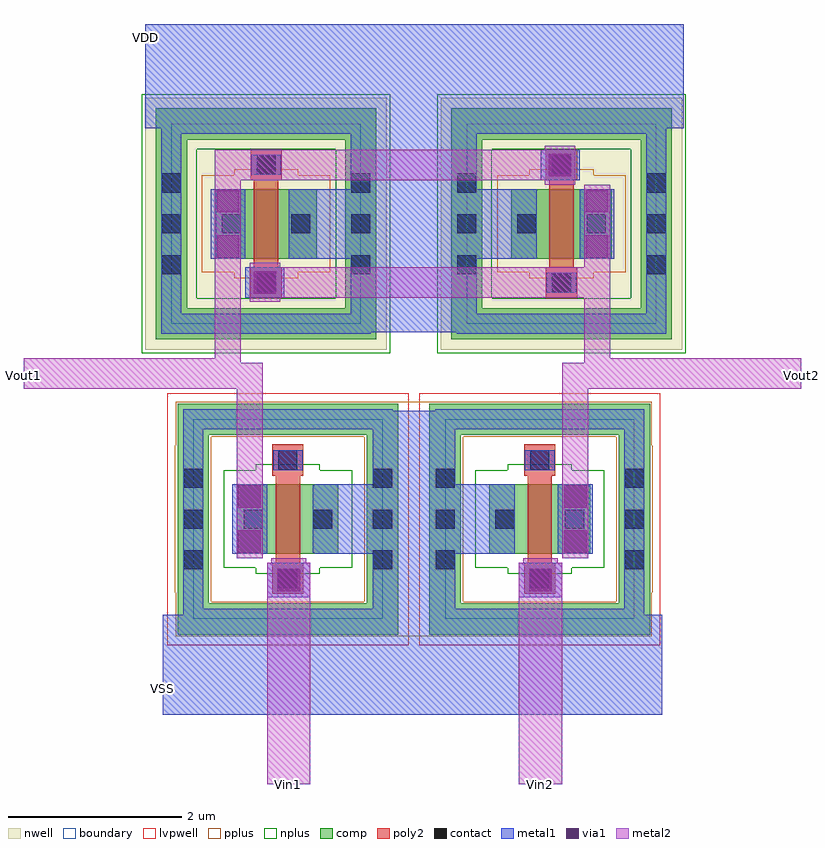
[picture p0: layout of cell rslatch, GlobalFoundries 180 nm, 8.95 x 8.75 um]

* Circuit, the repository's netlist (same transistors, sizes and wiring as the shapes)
** sch_path: /foss/designs/comparator/rslatch.sch
**.subckt rslatch VDD Vout1 Vout2 Vin1 Vin2 VSS
*.iopin VDD
*.iopin VSS
*.iopin Vin1
*.iopin Vin2
*.iopin Vout1
*.iopin Vout2
XM1 Vout1 Vin1 VSS VSS nfet_03v3 L=0.28u W=0.8u nf=1 ad='int((nf+1)/2) * W/nf * 0.18u' as='int((nf+2)/2) * W/nf * 0.18u' pd='2*int((nf+1)/2) * (W/nf + 0.18u)'
+ ps='2*int((nf+2)/2) * (W/nf + 0.18u)' nrd='0.18u / W' nrs='0.18u / W' sa=0 sb=0 sd=0 m=1
XM2 Vout2 Vin2 VSS VSS nfet_03v3 L=0.28u W=0.8u nf=1 ad='int((nf+1)/2) * W/nf * 0.18u' as='int((nf+2)/2) * W/nf * 0.18u' pd='2*int((nf+1)/2) * (W/nf + 0.18u)'
+ ps='2*int((nf+2)/2) * (W/nf + 0.18u)' nrd='0.18u / W' nrs='0.18u / W' sa=0 sb=0 sd=0 m=1
XM3 Vout1 Vout2 VDD VDD pfet_03v3 L=0.28u W=0.8u nf=1 ad='int((nf+1)/2) * W/nf * 0.18u' as='int((nf+2)/2) * W/nf * 0.18u' pd='2*int((nf+1)/2) * (W/nf + 0.18u)'
+ ps='2*int((nf+2)/2) * (W/nf + 0.18u)' nrd='0.18u / W' nrs='0.18u / W' sa=0 sb=0 sd=0 m=1
XM4 Vout2 Vout1 VDD VDD pfet_03v3 L=0.28u W=0.8u nf=1 ad='int((nf+1)/2) * W/nf * 0.18u' as='int((nf+2)/2) * W/nf * 0.18u' pd='2*int((nf+1)/2) * (W/nf + 0.18u)'
+ ps='2*int((nf+2)/2) * (W/nf + 0.18u)' nrd='0.18u / W' nrs='0.18u / W' sa=0 sb=0 sd=0 m=1
**.ends
.end

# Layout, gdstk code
import gdstk
lib = gdstk.Library(unit=1e-6, precision=1e-09)
def R(c, l, rs):  # rectangles x0, y0, x1, y1
    for r in rs: c.add(gdstk.rectangle(r[:2], r[2:], *l))
def A(c, l, x, y, w, h, nx, ny, dx, dy):  # array of equal rectangles
    R(c, l, [(x+i*dx, y+j*dy, x+i*dx+w, y+j*dy+h) for i in range(nx) for j in range(ny)])
boundary = (0, 0)
nwell = (21, 0)
comp = (22, 0)
poly2 = (30, 0)
pplus = (31, 0)
nplus = (32, 0)
contact = (33, 0)
metal1 = (34, 0)
via1 = (35, 0)
metal2 = (36, 0)
lvpwell = (204, 0)

pfet_03v3_ybhbcy = lib.new_cell('pfet_03v3_YBHBCY')
R(pfet_03v3_ybhbcy, boundary, [(-1.09,-1.15,1.09,1.15)])
R(pfet_03v3_ybhbcy, nwell, [(-1.39,-1.45,1.39,1.45)])
R(pfet_03v3_ybhbcy, comp, [(-1.27,-1.33,1.27,-0.97), (-1.27,-0.97,-0.91,0.97), (0.91,-0.97,1.27,0.97), (-0.58,-0.4,0.58,0.4), (-1.27,0.97,1.27,1.33)])
R(pfet_03v3_ybhbcy, poly2, [(-0.18,-0.86,0.18,-0.5), (-0.14,-0.5,0.14,0.5), (-0.18,0.5,0.18,0.86)])
R(pfet_03v3_ybhbcy, pplus, [(-0.37,-0.63,0.37,-0.56), (-0.74,-0.56,0.74,0.56), (-0.37,0.56,0.37,0.63)])
R(pfet_03v3_ybhbcy, nplus, [(-1.43,-1.49,1.43,-0.86), (-1.43,-0.86,-0.8,0.86), (0.8,-0.86,1.43,0.86), (-1.43,0.86,1.43,1.49)])
A(pfet_03v3_ybhbcy, contact, -1.2, -0.58, 0.22, 0.22, 1, 3, 0, 0.47)
A(pfet_03v3_ybhbcy, contact, 0.98, -0.58, 0.22, 0.22, 1, 3, 0, 0.47)
R(pfet_03v3_ybhbcy, contact, [(-0.11,-0.79,0.11,-0.57), (-0.51,-0.11,-0.29,0.11), (0.29,-0.11,0.51,0.11), (-0.11,0.57,0.11,0.79)])
R(pfet_03v3_ybhbcy, metal1, [(-1.205,-1.265,1.205,-1.035), (-1.205,-1.035,-0.975,1.035), (0.975,-1.035,1.205,1.035), (-0.17,-0.795,0.17,-0.565), (-0.515,-0.39,-0.285,0.39), (0.285,-0.39,0.515,0.39), (-0.17,0.565,0.17,0.795), (-1.205,1.035,1.205,1.265)])

nfet_03v3_5qdtwg = lib.new_cell('nfet_03v3_5QDTWG')
R(nfet_03v3_5qdtwg, boundary, [(-1.09,-1.15,1.09,1.15)])
R(nfet_03v3_5qdtwg, comp, [(-1.27,-1.33,1.27,-0.97), (-1.27,-0.97,-0.91,0.97), (0.91,-0.97,1.27,0.97), (-0.58,-0.4,0.58,0.4), (-1.27,0.97,1.27,1.33)])
R(nfet_03v3_5qdtwg, poly2, [(-0.18,-0.86,0.18,-0.5), (-0.14,-0.5,0.14,0.5), (-0.18,0.5,0.18,0.86)])
R(nfet_03v3_5qdtwg, pplus, [(-1.29,-1.35,1.29,-0.95), (-1.29,-0.95,-0.88,-0.845), (0.88,-0.95,1.29,-0.845), (-1.3,-0.845,-0.88,0.845), (0.88,-0.845,1.3,0.845), (-1.29,0.845,-0.88,0.95), (0.88,0.845,1.29,0.95), (-1.29,0.95,1.29,1.35)])
R(nfet_03v3_5qdtwg, nplus, [(-0.37,-0.63,0.37,-0.56), (-0.74,-0.56,0.74,0.56), (-0.37,0.56,0.37,0.63)])
A(nfet_03v3_5qdtwg, contact, -1.2, -0.58, 0.22, 0.22, 1, 3, 0, 0.47)
A(nfet_03v3_5qdtwg, contact, 0.98, -0.58, 0.22, 0.22, 1, 3, 0, 0.47)
R(nfet_03v3_5qdtwg, contact, [(-0.11,-0.79,0.11,-0.57), (-0.51,-0.11,-0.29,0.11), (0.29,-0.11,0.51,0.11), (-0.11,0.57,0.11,0.79)])
R(nfet_03v3_5qdtwg, metal1, [(-1.205,-1.265,1.205,-1.035), (-1.205,-1.035,-0.975,1.035), (0.975,-1.035,1.205,1.035), (-0.17,-0.795,0.17,-0.565), (-0.515,-0.39,-0.285,0.39), (0.285,-0.39,0.515,0.39), (-0.17,0.565,0.17,0.795), (-1.205,1.035,1.205,1.265)])
R(nfet_03v3_5qdtwg, lvpwell, [(-1.39,-1.45,1.39,1.45)])

rslatch = lib.new_cell('rslatch')
R(rslatch, pplus, [(4.43,-4.5,4.75,-3.995), (4.44,-3.995,4.74,-2.305), (4.43,-2.305,4.75,-1.8)])
R(rslatch, metal1, [(1.7,-5.4,7.45,-4.25), (4.15,-4.25,5,-3.55), (2.9,-4.05,3.4,-3.65), (5.8,-4.05,6.3,-3.65), (2.5,-3.55,2.9,-2.75), (3.45,-3.55,5.75,-2.75), (6.25,-3.55,6.65,-2.75), (4.15,-2.75,5,-1.9), (3.9,-1,5.3,-0.15), (2.65,-0.6,3.1,-0.25), (2.25,-0.15,2.65,0.65), (3.15,-0.15,6,0.65), (6.5,-0.15,6.9,0.65), (3.9,0.65,5.3,1.35), (6.05,0.75,6.5,1.1), (1.5,1.35,7.7,2.55)])
R(rslatch, via1, [(3.02,-3.98,3.28,-3.72), (5.92,-3.98,6.18,-3.72), (2.57,-3.54,2.83,-3.28), (6.32,-3.54,6.58,-3.28), (2.57,-3.02,2.83,-2.76), (6.32,-3.02,6.58,-2.76), (2.745,-0.555,3.005,-0.295), (2.32,-0.14,2.58,0.12), (6.57,-0.14,6.83,0.12), (2.32,0.38,2.58,0.64), (6.57,0.38,6.83,0.64), (6.145,0.795,6.405,1.055)])
R(rslatch, metal2, [(2.9,-6.2,3.4,-3.65), (5.8,-6.2,6.3,-3.65), (2.95,-3.65,3.35,-3.6), (5.85,-3.65,6.25,-3.6), (2.55,-3.6,2.85,-1.65), (6.3,-3.6,6.6,-1.65), (0.1,-1.65,2.85,-1.35), (6.3,-1.65,9.05,-1.35), (0.1,-1.35,2.6,-1.3), (6.55,-1.35,9.05,-1.3), (2.3,-1.3,2.6,0.75), (6.55,-1.3,6.85,-0.6), (2.7,-0.65,3.05,-0.6), (2.7,-0.6,6.85,-0.25), (2.7,-0.25,3.05,-0.2), (6.55,-0.25,6.85,0.7), (6.1,0.7,6.45,0.75), (2.3,0.75,6.45,1.1), (6.1,1.1,6.45,1.15)])
rslatch.add(gdstk.Reference(pfet_03v3_ybhbcy, (6.29,0.25)))
rslatch.add(gdstk.Reference(pfet_03v3_ybhbcy, (2.89,0.25)))
rslatch.add(gdstk.Reference(nfet_03v3_5qdtwg, (6.04,-3.15)))
rslatch.add(gdstk.Reference(nfet_03v3_5qdtwg, (3.14,-3.15)))
rslatch.add(gdstk.Label('VDD', (1.5,2.4), layer=34, texttype=10))
rslatch.add(gdstk.Label('VSS', (1.7,-5.1), layer=34, texttype=10))
rslatch.add(gdstk.Label('Vin1', (3.15,-6.2), layer=36, texttype=10))
rslatch.add(gdstk.Label('Vin2', (6.05,-6.2), layer=36, texttype=10))
rslatch.add(gdstk.Label('Vout1', (0.1,-1.5), layer=36, texttype=10))
rslatch.add(gdstk.Label('Vout2', (9.05,-1.5), layer=36, texttype=10))

lib.write_gds('rslatch.gds')
